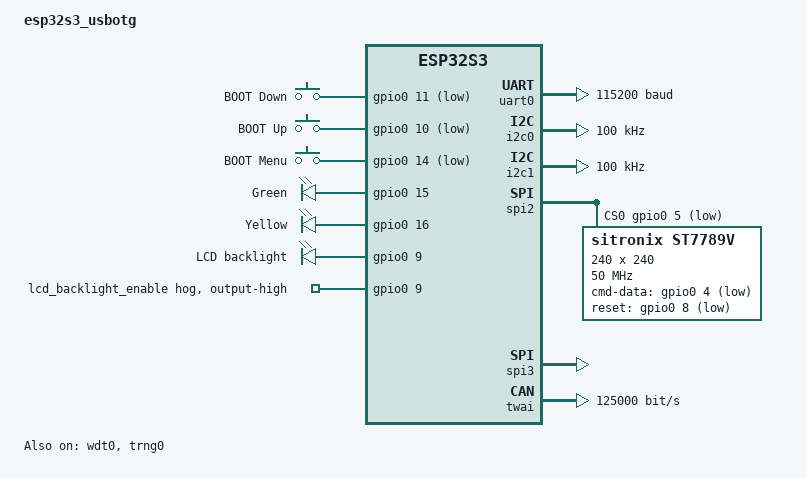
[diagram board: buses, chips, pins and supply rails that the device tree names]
/*
 * Copyright (c) 2022 Espressif Systems (Shanghai) Co., Ltd.
 *
 * SPDX-License-Identifier: Apache-2.0
 */
/dts-v1/;

#include <espressif/esp32s3/esp32s3_mini_n8.dtsi>
#include "esp32s3_usbotg-pinctrl.dtsi"
#include <zephyr/dt-bindings/input/input-event-codes.h>

/ {
	model = "esp32s3_usbotg";
	compatible = "espressif,esp32s3";

	aliases {
		i2c-0 = &i2c0;
		watchdog0 = &wdt0;
	};

	chosen {
		zephyr,sram = &sram0;
		zephyr,console = &uart0;
		zephyr,shell-uart = &uart0;
		zephyr,flash = &flash0;
		zephyr,code-partition = &slot0_partition;
		zephyr,display = &st7789v;
	};

	aliases {
		uart-0 = &uart0;
		sw2 = &button0;
		sw3 = &button1;
		sw4 = &button2;
		led-green = &led0;
		led-yellow = &led1;
		lcd-backlight = &led2;
	};

	buttons {
		compatible = "gpio-keys";
		button0: button_0 {
			gpios = <&gpio0 11 (GPIO_PULL_UP | GPIO_ACTIVE_LOW)>;
			label = "BOOT Down";
			zephyr,code = <INPUT_KEY_0>;
		};
		button1: button_1 {
			gpios = <&gpio0 10 (GPIO_PULL_UP | GPIO_ACTIVE_LOW)>;
			label = "BOOT Up";
			zephyr,code = <INPUT_KEY_1>;
		};
		button2: button_2 {
			gpios = <&gpio0 14 (GPIO_PULL_UP | GPIO_ACTIVE_LOW)>;
			label = "BOOT Menu";
			zephyr,code = <INPUT_KEY_2>;
		};
	};

	leds {
		compatible = "gpio-leds";

		led0: led0 {
			gpios = <&gpio0 15 GPIO_ACTIVE_HIGH>;
			label = "Green";
		};
		led1: led1 {
			gpios = <&gpio0 16 GPIO_ACTIVE_HIGH>;
			label = "Yellow";
		};

		led2: led2 {
			gpios = <&gpio0 9 GPIO_ACTIVE_HIGH>;
			label = "LCD backlight";
		};
	};
};


&cpu0 {
	clock-frequency = <ESP32_CLK_CPU_240M>;
};

&cpu1 {
	clock-frequency = <ESP32_CLK_CPU_240M>;
};

&usb_serial {
	status = "okay";
};

&uart0 {
	status = "okay";
	current-speed = <115200>;
	pinctrl-0 = <&uart0_default>;
	pinctrl-names = "default";
};

&gpio0 {
	status = "okay";

	lcd_backlight_enable {
        gpio-hog;
        gpios = <9 GPIO_ACTIVE_HIGH>;
        output-high;
	};
};

&gpio1 {
	status = "okay";
};

&i2c0 {
	clock-frequency = <I2C_BITRATE_STANDARD>;
	pinctrl-0 = <&i2c0_default>;
	pinctrl-names = "default";
};

&i2c1 {
	clock-frequency = <I2C_BITRATE_STANDARD>;
	pinctrl-0 = <&i2c1_default>;
	pinctrl-names = "default";
};

&spi2 {
	#address-cells = <1>;
	#size-cells = <0>;
	status = "okay";
	pinctrl-0 = <&spim2_lcd>;
	pinctrl-names = "default";
	dma-enabled;

	cs-gpios = <&gpio0 5 GPIO_ACTIVE_LOW>;
	/* Sitronix ST7789V LCD */
	st7789v: st7789v@0 {
		compatible = "sitronix,st7789v";
		reg = <0>;
		spi-max-frequency = <50000000>; /* 50MHz */
		cmd-data-gpios = <&gpio0 4 GPIO_ACTIVE_LOW>;	/* DET */
		reset-gpios = <&gpio0 8 GPIO_ACTIVE_LOW>;	/* RESX reset */
		width = <240>;
		height = <240>;
		x-offset = <0>;
		y-offset = <0>;
		vcom = <0x19>;
		gctrl = <0x35>;
		vrhs = <0x12>;
		vdvs = <0x20>;
		mdac = <0x00>;
		gamma = <0x01>;
		colmod = <0x05>;
		lcm = <0x2c>;
		porch-param = [0c 0c 00 33 33];
		cmd2en-param = [5a 69 02 01];
		pwctrl1-param = [a4 a1];
		pvgam-param = [D0 04 0D 11 13 2B 3F 54 4C 18 0D 0B 1F 23];
		nvgam-param = [D0 04 0C 11 13 2C 3F 44 51 2F 1F 1F 20 23];
		ram-param = [00 F0];
		rgb-param = [CD 08 14];
	};

};

&spi3 {
	#address-cells = <1>;
	#size-cells = <0>;
	status = "okay";
	pinctrl-0 = <&spim3_default>;
	pinctrl-names = "default";
};

&twai {
	pinctrl-0 = <&twai_default>;
	pinctrl-names = "default";
	bus-speed = <125000>;
};

&timer0 {
	status = "disabled";
};

&timer1 {
	status = "disabled";
};

&timer2 {
	status = "disabled";
};

&timer3 {
	status = "disabled";
};

&wdt0 {
	status = "okay";
};

&trng0 {
	status = "okay";
};

&usb_serial {
	status = "disabled";
};

&flash0 {
	status = "okay";
	partitions {
		compatible = "fixed-partitions";
		#address-cells = <1>;
		#size-cells = <1>;

		/* Reserve 64kB for the bootloader */
		boot_partition: partition@0 {
			label = "mcuboot";
			reg = <0x00000000 0x00010000>;
			read-only;
		};

		/* Reserve 1024kB for the application in slot 0 */
		slot0_partition: partition@10000 {
			label = "image-0";
			reg = <0x00010000 0x00100000>;
		};

		/* Reserve 1024kB for the application in slot 1 */
		slot1_partition: partition@110000 {
			label = "image-1";
			reg = <0x00110000 0x00100000>;
		};

		/* Reserve 256kB for the scratch partition */
		scratch_partition: partition@210000 {
			   label = "image-scratch";
			   reg = <0x00210000 0x00040000>;
		};

		storage_partition: partition@250000 {
			label = "storage";
			reg = <0x00250000 0x00006000>;
		};
	};
};
